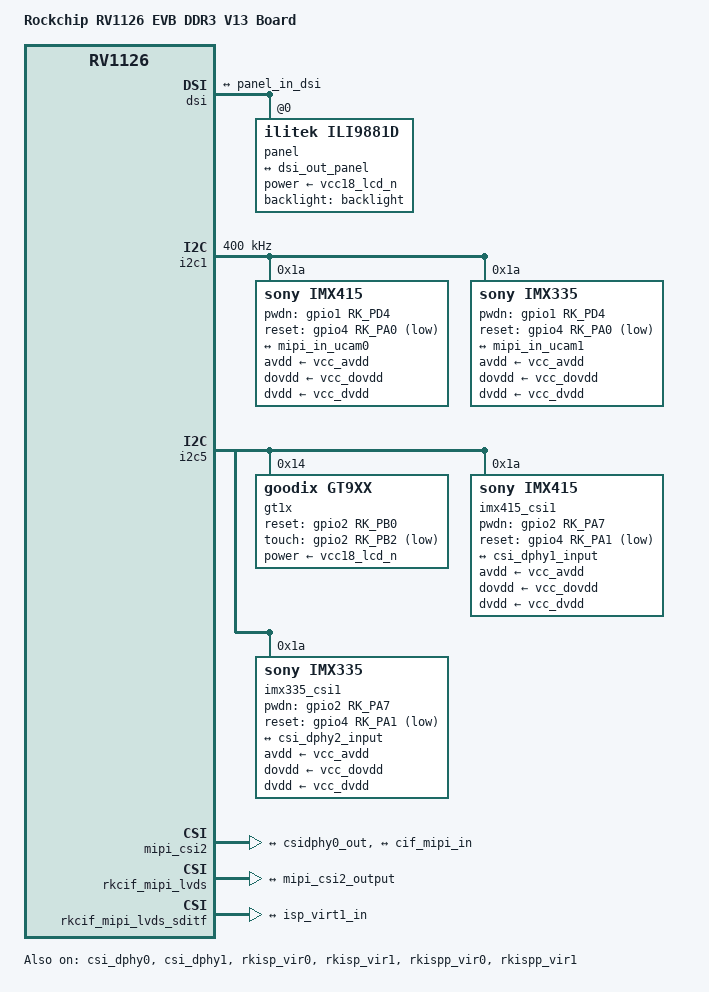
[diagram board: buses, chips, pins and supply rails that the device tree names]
/* SPDX-License-Identifier: (GPL-2.0+ OR MIT)
/*
 * Copyright (c) 2020 Rockchip Electronics Co., Ltd.
 */
/dts-v1/;
#include "rv1126.dtsi"
#include "rv1126-alientek.dtsi"
/ {
    model = "Rockchip RV1126 EVB DDR3 V13 Board";
    compatible = "rockchip,rv1126-evb-ddr3-v13", "rockchip,rv1126";

    chosen {
        bootargs = "earlycon=uart8250,mmio32,0xff570000 console=ttyFIQ0 root=PARTUUID=614e0000-0000 rootfstype=ext4 rootwait snd_aloop.index=7";
    };
};
&dsi {
	status = "okay";

	panel@0 {
		compatible = "ilitek,ili9881d", "simple-panel-dsi";
		reg = <0>;
		backlight = <&backlight>;
		power-supply = <&vcc18_lcd_n>;
		prepare-delay-ms = <5>;
		reset-delay-ms = <100>;
		init-delay-ms = <80>;
		disable-delay-ms = <10>;
		unprepare-delay-ms = <5>;

		width-mm = <68>;
		height-mm = <121>;

		dsi,flags = <(MIPI_DSI_MODE_VIDEO | MIPI_DSI_MODE_VIDEO_BURST |
			      MIPI_DSI_MODE_LPM | MIPI_DSI_MODE_EOT_PACKET)>;
		dsi,format = <MIPI_DSI_FMT_RGB888>;
		dsi,lanes = <4>;
	    panel-init-sequence = [
		    39 00 04 B9 FF 83 99
			15 00 02 D2 77
            15 00 02 CC 04
			39 00 10 B1 02 04 74 94 01 32 33 11 11 AB 4D 56 73 02 02
			39 00 10 B2 00 80 80 AE 05 07 5A 11 00 00 10 1E 70 03 D4
			39 00 2D B4 00 FF 02 C0 02 C0 00 00 08 00 04 06 00 32 04 0A 08 21 03 01 00 0F B8 8B 02 C0 02 C0 00 00 08 00 04 06 00 32 04 0A 08 01 00 0F B8 01
			39 05 22 D3 00 00 00 00 00 00 06 00 00 10 04 00 04 00 00 00 00 00 00 00 00 00 00 01 00 05 05 07 00 00 00 05 40
			39 05 21 D5 18 18 19 19 18 18 21 20 01 00 07 06 05 04 03 02 18 18 18 18 18 18 2F 2F 30 30 31 31 18 18 18 18
			39 05 21 D6 18 18 19 19 40 40 20 21 02 03 04 05 06 07 00 01 40 40 40 40 40 40 2F 2F 30 30 31 31 40 40 40 40
			39 00 11 D8 A2 AA 02 A0 A2 A8 02 A0 B0 00 00 00 B0 00 00 00
			15 00 02 BD 01
			39 00 11 D8 B0 00 00 00 B0 00 00 00 E2 AA 03 F0 E2 AA 03 F0
			15 00 02 BD 02
			39 00 09 D8 E2 AA 03 F0 E2 AA 03 F0
			15 00 02 BD 00
			39 00 03 B6 8D 8D
			39 05 37 E0 00 0E 19 13 2E 39 48 44 4D 57 5F 66 6C 76 7F 85 8A 95 9A A4 9B AB B0 5C 58 64 77 00 0E 19 13 2E 39 48 44 4D 57 5F 66 6C 76 7F 85 8A 95 9A A4 9B AB B0 5C 58 64 77
			05 c8 01 11
			05 ff 01 29
		];

		display-timings {
            native-mode = <&timing0>;
            timing0: timing0 {
                clock-frequency = <121000000>;
                hactive = <1080>;
                vactive = <1920>;
                hfront-porch = <22>;
                hsync-len = <20>;
                hback-porch = <22>;
                vfront-porch = <9>;
                vsync-len = <7>;
                vback-porch = <7>;
                hsync-active = <0>;
                vsync-active = <0>;
                de-active = <0>;
                pixelclk-active = <0>;
            };

		};

        
		ports {
			#address-cells = <1>;
			#size-cells = <0>;

			port@0 {
				reg = <0>;
				panel_in_dsi: endpoint {
					remote-endpoint = <&dsi_out_panel>;
				};
			};
		};
	};

	ports {
		#address-cells = <1>;
		#size-cells = <0>;

		port@1 {
			reg = <1>;
			dsi_out_panel: endpoint {
				remote-endpoint = <&panel_in_dsi>;
			};
		};
	};
};

&csi_dphy0 {
    status = "okay";

    ports {
        #address-cells = <1>;
        #size-cells = <0>;
        port@0 {
            reg = <0>;
            #address-cells = <1>;
            #size-cells = <0>;

            mipi_in_ucam0: endpoint@1 {
                reg = <1>;
                remote-endpoint = <&ucam_out0>;
                data-lanes = <1 2 3 4>;
            };

            mipi_in_ucam1: endpoint@2 {
                reg = <2>;
                remote-endpoint = <&ucam_out1>;
                data-lanes = <1 2 3 4>;
            };
        };
        port@1 {
            reg = <1>;
            #address-cells = <1>;
            #size-cells = <0>;

            csidphy0_out: endpoint@0 {
                reg = <0>;
                remote-endpoint = <&mipi_csi2_input>;
            };
        };
    };
};

&csi_dphy1 {
    status = "okay";

    ports {
        #address-cells = <1>;
        #size-cells = <0>;

        port@0 {
            reg = <0>;
            #address-cells = <1>;
            #size-cells = <0>;

            csi_dphy1_input: endpoint@1 {
                reg = <1>;
                remote-endpoint = <&ucam_out2>;
                data-lanes = <1 2 3 4>;
            };

            csi_dphy2_input: endpoint@2 {
                reg = <2>;
                remote-endpoint = <&ucam_out3>;
                data-lanes = <1 2 3 4>;
            };
        };

        port@1 {
            reg = <1>;
            #address-cells = <1>;
            #size-cells = <0>;

            csi_dphy1_output: endpoint@0 {
                reg = <0>;
                remote-endpoint = <&isp_in>;
                data-lanes = <1 2 3 4>;
            };
        };
    };
};


&i2c1 {
	status = "okay";
	clock-frequency = <400000>;

    imx415: imx415@1a {
        compatible = "sony,imx415";
        reg = <0x1a>;
        clocks = <&cru CLK_MIPICSI_OUT>;
        clock-names = "xvclk";
        power-domains = <&power RV1126_PD_VI>;
        pinctrl-names = "rockchip,camera_default";
        pinctrl-0 = <&mipicsi_clk0>;
        avdd-supply = <&vcc_avdd>;
        dovdd-supply = <&vcc_dovdd>;
        dvdd-supply = <&vcc_dvdd>;
        pwdn-gpios = <&gpio1 RK_PD4 GPIO_ACTIVE_HIGH>;
        reset-gpios = <&gpio4 RK_PA0 GPIO_ACTIVE_LOW>;
        rockchip,camera-module-index = <0>;
        rockchip,camera-module-facing = "front";
        rockchip,camera-module-name = "YT10092";
        rockchip,camera-module-lens-name = "IR0147-60IRC-8M-F20-hdr3";
        port {
            ucam_out0: endpoint {
                remote-endpoint = <&mipi_in_ucam0>;
                data-lanes = <1 2 3 4>;
            };
        };
    };

    imx335: imx335@1a {
        compatible = "sony,imx335";
        reg = <0x1a>;
        clocks = <&cru CLK_MIPICSI_OUT>;
        clock-names = "xvclk";
        power-domains = <&power RV1126_PD_VI>;
        pinctrl-names = "rockchip,camera_default";
        pinctrl-0 = <&mipicsi_clk0>;
        avdd-supply = <&vcc_avdd>;
        dovdd-supply = <&vcc_dovdd>;
        dvdd-supply = <&vcc_dvdd>;
        pwdn-gpios = <&gpio1 RK_PD4 GPIO_ACTIVE_HIGH>;
        reset-gpios = <&gpio4 RK_PA0 GPIO_ACTIVE_LOW>;
        rockchip,camera-module-index = <0>;
        rockchip,camera-module-facing = "front";
        rockchip,camera-module-name = "MTV4-IR-E-P";
        rockchip,camera-module-lens-name = "40IRC-4MP-F16";
        port {
            ucam_out1: endpoint {
                remote-endpoint = <&mipi_in_ucam1>;
                data-lanes = <1 2 3 4>;
            };
        };
    };
};

&i2c5 {
    gt1x: gt1x@14 {
        compatible = "goodix,gt9xx";
        reg = <0x14>;
        gtp_ics_slot_report;
        pinctrl-names = "default";
        pinctrl-0 = <&touch_gpio>;
        power-supply = <&vcc18_lcd_n>;
        reset-gpio = <&gpio2 RK_PB0 GPIO_ACTIVE_HIGH>;
        touch-gpio = <&gpio2 RK_PB2 GPIO_ACTIVE_LOW>;
        tp-size = <911>;
        status = "okay";
    };

    imx415_csi1: imx415@1a {
        compatible = "sony,imx415";
        reg = <0x1a>;
        clocks = <&cru CLK_MIPICSI_OUT>;
        clock-names = "xvclk";
        power-domains = <&power RV1126_PD_VI>;
        pinctrl-names = "rockchip,camera_default";
        pinctrl-0 = <&mipicsi_clk1>;
        avdd-supply = <&vcc_avdd>;
        dovdd-supply = <&vcc_dovdd>;
        dvdd-supply = <&vcc_dvdd>;
        pwdn-gpios = <&gpio2 RK_PA7 GPIO_ACTIVE_HIGH>;
        reset-gpios = <&gpio4 RK_PA1 GPIO_ACTIVE_LOW>;
        rockchip,camera-module-index = <1>;
        rockchip,camera-module-facing = "front";
        rockchip,camera-module-name = "YT10092";
        rockchip,camera-module-lens-name = "IR0147-60IRC-8M-F20-hdr3";
        port {
            ucam_out2: endpoint {
                remote-endpoint = <&csi_dphy1_input>;
                data-lanes = <1 2 3 4>;
            };
        };
    };

    imx335_csi1: imx335-csi@1a {
        compatible = "sony,imx335";
        reg = <0x1a>;
        clocks = <&cru CLK_MIPICSI_OUT>;
        clock-names = "xvclk";
        power-domains = <&power RV1126_PD_VI>;
        pinctrl-names = "rockchip,camera_default";
        pinctrl-0 = <&mipicsi_clk1>;
        avdd-supply = <&vcc_avdd>;
        dovdd-supply = <&vcc_dovdd>;
        dvdd-supply = <&vcc_dvdd>;
        pwdn-gpios = <&gpio2 RK_PA7 GPIO_ACTIVE_HIGH>;
        reset-gpios = <&gpio4 RK_PA1 GPIO_ACTIVE_LOW>;
        rockchip,camera-module-index = <1>;
        rockchip,camera-module-facing = "front";
        rockchip,camera-module-name = "MTV4-IR-E-P";
        rockchip,camera-module-lens-name = "40IRC-4MP-F16";
        port {
            ucam_out3: endpoint {
                remote-endpoint = <&csi_dphy2_input>;
                data-lanes = <1 2 3 4>;
            };
        };
    };

};

&isp_reserved {
    size = <0x20000000>;
};
&mipi_csi2 {
    status = "okay";

    ports {
        #address-cells = <1>;
        #size-cells = <0>;

        port@0 {
            reg = <0>;
            #address-cells = <1>;
            #size-cells = <0>;

            mipi_csi2_input: endpoint@1 {
                reg = <1>;
                remote-endpoint = <&csidphy0_out>;
                data-lanes = <1 2 3 4>;
            };
        };

        port@1 {
            reg = <1>;
            #address-cells = <1>;
            #size-cells = <0>;

            mipi_csi2_output: endpoint@0 {
                reg = <0>;
                remote-endpoint = <&cif_mipi_in>;
                data-lanes = <1 2 3 4>;
            };
        };
    };
};

&rkcif_mipi_lvds {
    status = "okay";

    port {
        /* MIPI CSI-2 endpoint */
        cif_mipi_in: endpoint {
            remote-endpoint = <&mipi_csi2_output>;
            data-lanes = <1 2 3 4>;
        };
    };
};

&rkcif_mipi_lvds_sditf {
    status = "okay";

    port {
        /* MIPI CSI-2 endpoint */
        cif_sditf: endpoint {
            remote-endpoint = <&isp_virt1_in>;
            data-lanes = <1 2 3 4>;
        };
    };
};

&rkisp_vir0 {
    status = "okay";

    ports {
        port@0 {
            reg = <0>;
            #address-cells = <1>;
            #size-cells = <0>;

            isp_virt1_in: endpoint@0 {
                reg = <0>;
                remote-endpoint = <&cif_sditf>;
            };
        };
    };
};

&rkisp_vir1 {
    status = "okay";
    ports {
        port@0 {
            reg = <0>;
            #address-cells = <1>;
            #size-cells = <0>;

            isp_in: endpoint@0 {
                reg = <0>;
                remote-endpoint = <&csi_dphy1_output>;
            };
        };
    };
};


&rkispp_vir0 {
	status = "okay";
};

&rkispp_vir1 {
	status = "okay";
};

&isp_reserved {
    size = <0x20000000>;
};

&rkispp {
	max-input = <3840 2160 30>;
};
